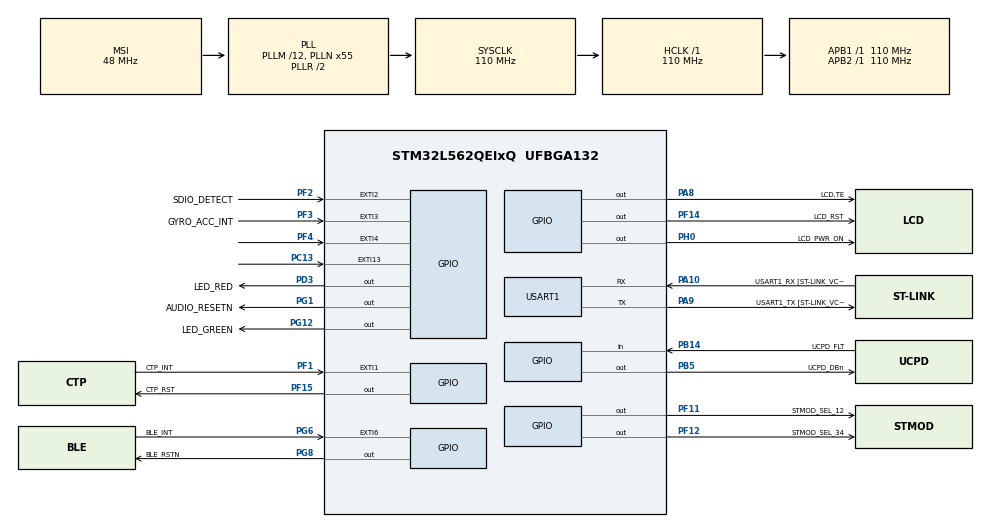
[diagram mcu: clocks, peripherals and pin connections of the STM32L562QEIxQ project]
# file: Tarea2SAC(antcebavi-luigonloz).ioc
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Mcu.Family=STM32L5
Mcu.Name=STM32L562QEIxQ
Mcu.Package=UFBGA132
Mcu.TrustZone=disable
NVIC.EXTI13_IRQn=true\:0\:0\:false\:false\:true\:true\:true\:true
NVIC.EXTI4_IRQn=true\:0\:0\:false\:false\:true\:true\:true\:true
NVIC.PriorityGroup=NVIC_PRIORITYGROUP_3
PA10.GPIO_Label=USART1_RX [ST-LINK_VCP_TX]
PA10.Mode=Asynchronous
PA10.Signal=USART1_RX
PA11.Signal=USB_DM
PA12.Signal=USB_DP
PA13\ (JTMS/SWDIO).Signal=DEBUG_JTMS-SWDIO
PA14\ (JTCK/SWCLK).Signal=DEBUG_JTCK-SWCLK
PA15\ (JTDI).Signal=UCPD1_CC1
PA2.Signal=OCTOSPI1_NCS
PA3.Signal=OCTOSPI1_CLK
PA4.GPIO_Label=VBUS_SENSE
PA4.Signal=ADCx_IN9
PA6.Signal=OCTOSPI1_IO3
PA7.Signal=OCTOSPI1_IO2
PA8.GPIO_Label=LCD.TE
PA8.Signal=GPIO_Output
PA9.GPIO_Label=USART1_TX [ST-LINK_VCP_RX]
PA9.Mode=Asynchronous
PA9.Signal=USART1_TX
PB0.Signal=OCTOSPI1_IO1
PB1.Signal=OCTOSPI1_IO0
PB10.Signal=LPUART1_RX
PB11.Signal=LPUART1_TX
PB12.Signal=S_DATAIN1DFSDM1
PB14.GPIO_Label=UCPD_FLT
PB14.Signal=GPIO_Input
PB15.Signal=UCPD1_CC2
PB2.Signal=OCTOSPI1_DQS
PB3\ (JTDO/TRACESWO).Signal=DEBUG_JTDO-SWO
PB5.GPIO_Label=UCPD_DBn
PB5.Signal=GPIO_Output
PB6.Signal=I2C1_SCL
PB7.Signal=I2C1_SDA
PC0.Signal=OCTOSPI1_IO7
PC1.Signal=OCTOSPI1_IO4
PC10.Signal=SDMMC1_D2
PC11.Signal=SDMMC1_D3
PC12.Signal=SDMMC1_CK
PC13.Signal=GPXTI13
PC14-OSC32_IN\ (PC14).Signal=RCC_OSC32_IN
PC15-OSC32_OUT\ (PC15).Signal=RCC_OSC32_OUT
PC2.Signal=OCTOSPI1_IO5
PC3.Signal=OCTOSPI1_IO6
PC8.Signal=SDMMC1_D0
PC9.Signal=SDMMC1_D1
PD0.Signal=FMC_D2_DA2
PD1.Signal=FMC_D3_DA3
PD10.Signal=FMC_D15_DA15
PD14.Signal=FMC_D0_DA0
PD15.Signal=FMC_D1_DA1
PD2.Signal=SDMMC1_CMD
PD3.GPIO_Label=LED_RED
PD3.Signal=GPIO_Output
PD4.Signal=FMC_NOE
PD5.Signal=FMC_NWE
PD7.Signal=FMC_NE1
PD8.Signal=FMC_D13_DA13
PD9.Signal=FMC_D14_DA14
PE1.GPIO_Label=LCD_BL_PWM
PE1.Signal=S_TIM17_CH1
PE10.Signal=FMC_D7_DA7
PE11.Signal=FMC_D8_DA8
PE12.Signal=FMC_D9_DA9
PE13.Signal=FMC_D10_DA10
PE14.Signal=FMC_D11_DA11
PE15.Signal=FMC_D12_DA12
PE2.Signal=SAI1_MCLK_A
PE3.Signal=SAI1_SD_B
PE4.Signal=SAI1_FS_A
PE5.Signal=SAI1_SCK_A
PE6.Signal=SAI1_SD_A
PE7.Signal=FMC_D4_DA4
PE8.Signal=FMC_D5_DA5
PE9.Signal=FMC_D6_DA6
PF0.Signal=FMC_A0
PF1.GPIO_Label=CTP_INT
PF1.Signal=GPXTI1
PF11.GPIO_Label=STMOD_SEL_12
PF11.Signal=GPIO_Output
PF12.GPIO_Label=STMOD_SEL_34
PF12.Signal=GPIO_Output
PF14.GPIO_Label=LCD_RST
PF14.Signal=GPIO_Output
PF15.GPIO_Label=CTP_RST
PF15.Signal=GPIO_Output
PF2.GPIO_Label=SDIO_DETECT
PF2.Signal=GPXTI2
PF3.GPIO_Label=GYRO_ACC_INT
PF3.Signal=GPXTI3
PF4.Signal=GPXTI4
PG1.GPIO_Label=AUDIO_RESETN
PG1.Signal=GPIO_Output
PG12.GPIO_Label=LED_GREEN
PG12.Signal=GPIO_Output
PG2.Signal=SPI1_SCK
PG3.Signal=SPI1_MISO
PG4.Signal=SPI1_MOSI
PG5.GPIO_Label=BLE_CSN
PG5.Signal=SPI1_NSS
PG6.GPIO_Label=BLE_INT
PG6.Signal=GPXTI6
PG7.Signal=S_CKOUTDFSDM1
PG8.GPIO_Label=BLE_RSTN
PG8.Signal=GPIO_Output
PH0-OSC_IN\ (PH0).GPIO_Label=LCD_PWR_ON
PH0-OSC_IN\ (PH0).Signal=GPIO_Output
ProjectManager.HeapSize=0x200
ProjectManager.StackSize=0x400
ProjectManager.TargetToolchain=STM32CubeIDE
RCC.ADCFreq_Value=96000000
RCC.AHBFreq_Value=110000000
RCC.APB1Freq_Value=110000000
RCC.APB1TimFreq_Value=110000000
RCC.APB2Freq_Value=110000000
RCC.APB2TimFreq_Value=110000000
RCC.CK48CLockSelection=RCC_USBCLKSOURCE_MSI
RCC.CortexFreq_Value=110000000
RCC.HCLKFreq_Value=110000000
RCC.HSE_VALUE=8000000
RCC.HSI48_VALUE=48000000
RCC.HSI_VALUE=16000000
RCC.LSE_VALUE=32768
RCC.MSIClockRange=RCC_MSIRANGE_11
RCC.MSI_VALUE=48000000
RCC.PLLM=12
RCC.PLLN=55
RCC.PLLSAI1M=4
RCC.PLLSAI1N=48
RCC.PLLSAI1P=RCC_PLLP_DIV17
RCC.PLLSAI1Source=RCC_PLLSAI1SOURCE_HSI
RCC.SDMMCClockSelection=RCC_SDIOCLKSOURCE_CLK48
RCC.SYSCLKFreq_VALUE=110000000
RCC.SYSCLKSource=RCC_SYSCLKSOURCE_PLLCLK
RCC.USBFreq_Value=48000000
RCC.VCOOutputFreq_Value=220000000
SH.ADCx_IN9.0=ADC1_IN9
SH.FMC_A0.0=FMC_A0
SH.FMC_D0_DA0.0=FMC_DA0
SH.FMC_D0_DA0.1=FMC_D0
SH.FMC_D10_DA10.0=FMC_DA10
SH.FMC_D10_DA10.1=FMC_D10
SH.FMC_D11_DA11.0=FMC_DA11
SH.FMC_D11_DA11.1=FMC_D11
SH.FMC_D12_DA12.0=FMC_DA12
SH.FMC_D12_DA12.1=FMC_D12
SH.FMC_D13_DA13.0=FMC_DA13
SH.FMC_D13_DA13.1=FMC_D13
SH.FMC_D14_DA14.0=FMC_DA14
SH.FMC_D14_DA14.1=FMC_D14
SH.FMC_D15_DA15.0=FMC_DA15
SH.FMC_D15_DA15.1=FMC_D15
SH.FMC_D1_DA1.0=FMC_DA1
SH.FMC_D1_DA1.1=FMC_D1
SH.FMC_D2_DA2.0=FMC_DA2
SH.FMC_D2_DA2.1=FMC_D2
SH.FMC_D3_DA3.0=FMC_DA3
SH.FMC_D3_DA3.1=FMC_D3
SH.FMC_D4_DA4.0=FMC_DA4
SH.FMC_D4_DA4.1=FMC_D4
SH.FMC_D5_DA5.0=FMC_DA5
SH.FMC_D5_DA5.1=FMC_D5
SH.FMC_D6_DA6.0=FMC_DA6
SH.FMC_D6_DA6.1=FMC_D6
SH.FMC_D7_DA7.0=FMC_DA7
SH.FMC_D7_DA7.1=FMC_D7
SH.FMC_D8_DA8.0=FMC_DA8
SH.FMC_D8_DA8.1=FMC_D8
SH.FMC_D9_DA9.0=FMC_DA9
SH.FMC_D9_DA9.1=FMC_D9
SH.FMC_NOE.0=FMC_NOE
SH.FMC_NWE.0=FMC_NWE
SH.S_CKOUTDFSDM1.0=DFSDM1_CKOUT
SH.S_DATAIN1DFSDM1.0=DFSDM1_DATIN1
SH.S_TIM17_CH1.0=TIM17_CH1
USART1.VirtualMode-Asynchronous=VM_ASYNC
VP_ICACHE_VS_ICACHE.Mode=DirectMappedCache
board=STM32L562E-DK

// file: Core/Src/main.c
/* USER CODE BEGIN Header */
/**
 ******************************************************************************
 * @file           : main.c
 * @brief          : Main program body
 ******************************************************************************
 * @attention
 *
 * Copyright (c) 2024 STMicroelectronics.
 * All rights reserved.
 *
 * This software is licensed under terms that can be found in the LICENSE file
 * in the root directory of this software component.
 * If no LICENSE file comes with this software, it is provided AS-IS.
 *
 ******************************************************************************
 */
/* USER CODE END Header */
#include "main.h"

/* USER CODE BEGIN Includes */
#include "stdio.h"
/* USER CODE END Includes */

UART_HandleTypeDef huart1;

void SystemClock_Config(void);
static void MX_GPIO_Init(void);
static void MX_ICACHE_Init(void);
static void MX_USART1_UART_Init(void);

/* USER CODE BEGIN 0 */
int __io_putchar(int ch) {
	HAL_UART_Transmit(&huart1, (uint8_t*) &ch, 1, 100);
	return ch;
}
uint16_t stateB1 = 0; //Registra si cambia el estado del boton 1
uint16_t stateB2 = 0; //Registra si cambia el estado del boton 2
uint16_t statesLeds = 0; //Variable global para controlar los estados de la maquina

/* USER CODE END 0 */

int main(void)
{

  /* MCU Configuration--------------------------------------------------------*/

  /* Reset of all peripherals, Initializes the Flash interface and the Systick. */
  HAL_Init();

  /* Configure the system clock */
  SystemClock_Config();

  /* Initialize all configured peripherals */
  MX_GPIO_Init();
  MX_ICACHE_Init();
  MX_USART1_UART_Init();
  /* USER CODE BEGIN 2 */
	HAL_UART_Transmit(&huart1, (uint8_t*) "Prueba", 6, 100);
  /* USER CODE END 2 */

  /* Infinite loop */
	while (1) {

    /* USER CODE BEGIN 3 */
		switch (statesLeds) {
		case 0: //Definimos la salida de los dos outputs en S0
			printf("Se encuentra en el: S0\n\r");
			HAL_GPIO_WritePin(GPIOG, GPIO_PIN_12, RESET); // LED1 = 0
			HAL_Delay(100);
			HAL_GPIO_WritePin(GPIOD, GPIO_PIN_3, SET); // LED2 = 1
			break;
		case 1: //Definimos la salida de los dos outputs en S1
			printf("Se encuentra en el: S1\n\r");
			HAL_GPIO_WritePin(GPIOG, GPIO_PIN_12, SET);     // LED1 = 1
			HAL_Delay(100);
			HAL_GPIO_WritePin(GPIOD, GPIO_PIN_3, RESET); // LED2 = 0
			break;
		case 2: //Definimos la salida de los dos outputs en S2
			printf("Se encuentra en el: S2 \n\r");
			HAL_GPIO_WritePin(GPIOG, GPIO_PIN_12, SET);      // LED1 = 1
			HAL_Delay(100);
			HAL_GPIO_WritePin(GPIOD, GPIO_PIN_3, SET);  // LED2 = 1
			break;
		case 3: //Definimos la salida de los dos outputs en S3
			printf("Se encuentra en el: S3 \n\r");
			HAL_GPIO_WritePin(GPIOG, GPIO_PIN_12, RESET); // LED1 = 0
			HAL_Delay(100);
			HAL_GPIO_WritePin(GPIOD, GPIO_PIN_3, RESET); // LED2 = 0
			break;
		}

//printf("Prueba printf\n");
//HAL_Delay(1000);
	}
  /* USER CODE END 3 */
}

void SystemClock_Config(void)
{
  RCC_OscInitTypeDef RCC_OscInitStruct = {0};
  RCC_ClkInitTypeDef RCC_ClkInitStruct = {0};

  /** Configure the main internal regulator output voltage
  */
  if (HAL_PWREx_ControlVoltageScaling(PWR_REGULATOR_VOLTAGE_SCALE0) != HAL_OK)
  {
    Error_Handler();
  }

  /** Initializes the RCC Oscillators according to the specified parameters
  * in the RCC_OscInitTypeDef structure.
  */
  RCC_OscInitStruct.OscillatorType = RCC_OSCILLATORTYPE_MSI;
  RCC_OscInitStruct.MSIState = RCC_MSI_ON;
  RCC_OscInitStruct.MSICalibrationValue = RCC_MSICALIBRATION_DEFAULT;
  RCC_OscInitStruct.MSIClockRange = RCC_MSIRANGE_11;
  RCC_OscInitStruct.PLL.PLLState = RCC_PLL_ON;
  RCC_OscInitStruct.PLL.PLLSource = RCC_PLLSOURCE_MSI;
  RCC_OscInitStruct.PLL.PLLM = 12;
  RCC_OscInitStruct.PLL.PLLN = 55;
  RCC_OscInitStruct.PLL.PLLP = RCC_PLLP_DIV7;
  RCC_OscInitStruct.PLL.PLLQ = RCC_PLLQ_DIV2;
  RCC_OscInitStruct.PLL.PLLR = RCC_PLLR_DIV2;
  if (HAL_RCC_OscConfig(&RCC_OscInitStruct) != HAL_OK)
  {
    Error_Handler();
  }

  /** Initializes the CPU, AHB and APB buses clocks
  */
  RCC_ClkInitStruct.ClockType = RCC_CLOCKTYPE_HCLK|RCC_CLOCKTYPE_SYSCLK
                              |RCC_CLOCKTYPE_PCLK1|RCC_CLOCKTYPE_PCLK2;
  RCC_ClkInitStruct.SYSCLKSource = RCC_SYSCLKSOURCE_PLLCLK;
  RCC_ClkInitStruct.AHBCLKDivider = RCC_SYSCLK_DIV1;
  RCC_ClkInitStruct.APB1CLKDivider = RCC_HCLK_DIV1;
  RCC_ClkInitStruct.APB2CLKDivider = RCC_HCLK_DIV1;

  if (HAL_RCC_ClockConfig(&RCC_ClkInitStruct, FLASH_LATENCY_5) != HAL_OK)
  {
    Error_Handler();
  }
}

static void MX_ICACHE_Init(void)
{

  /** Enable instruction cache in 1-way (direct mapped cache)
  */
  if (HAL_ICACHE_ConfigAssociativityMode(ICACHE_1WAY) != HAL_OK)
  {
    Error_Handler();
  }
  if (HAL_ICACHE_Enable() != HAL_OK)
  {
    Error_Handler();
  }

}

static void MX_USART1_UART_Init(void)
{

  huart1.Instance = USART1;
  huart1.Init.BaudRate = 115200;
  huart1.Init.WordLength = UART_WORDLENGTH_8B;
  huart1.Init.StopBits = UART_STOPBITS_1;
  huart1.Init.Parity = UART_PARITY_NONE;
  huart1.Init.Mode = UART_MODE_TX_RX;
  huart1.Init.HwFlowCtl = UART_HWCONTROL_NONE;
  huart1.Init.OverSampling = UART_OVERSAMPLING_16;
  huart1.Init.OneBitSampling = UART_ONE_BIT_SAMPLE_DISABLE;
  huart1.Init.ClockPrescaler = UART_PRESCALER_DIV1;
  huart1.AdvancedInit.AdvFeatureInit = UART_ADVFEATURE_NO_INIT;
  if (HAL_UART_Init(&huart1) != HAL_OK)
  {
    Error_Handler();
  }
  if (HAL_UARTEx_SetTxFifoThreshold(&huart1, UART_TXFIFO_THRESHOLD_1_8) != HAL_OK)
  {
    Error_Handler();
  }
  if (HAL_UARTEx_SetRxFifoThreshold(&huart1, UART_RXFIFO_THRESHOLD_1_8) != HAL_OK)
  {
    Error_Handler();
  }
  if (HAL_UARTEx_DisableFifoMode(&huart1) != HAL_OK)
  {
    Error_Handler();
  }

}

static void MX_GPIO_Init(void)
{
  GPIO_InitTypeDef GPIO_InitStruct = {0};

  /* GPIO Ports Clock Enable */
  __HAL_RCC_GPIOE_CLK_ENABLE();
  __HAL_RCC_GPIOB_CLK_ENABLE();
  __HAL_RCC_GPIOG_CLK_ENABLE();
  HAL_PWREx_EnableVddIO2();
  __HAL_RCC_GPIOD_CLK_ENABLE();
  __HAL_RCC_GPIOC_CLK_ENABLE();
  __HAL_RCC_GPIOA_CLK_ENABLE();
  __HAL_RCC_GPIOF_CLK_ENABLE();
  __HAL_RCC_GPIOH_CLK_ENABLE();

  /*Configure GPIO pin Output Level */
  HAL_GPIO_WritePin(GPIOG, LED_GREEN_Pin|BLE_RSTN_Pin|AUDIO_RESETN_Pin, GPIO_PIN_RESET);

  /*Configure GPIO pin Output Level */
  HAL_GPIO_WritePin(LED_RED_GPIO_Port, LED_RED_Pin, GPIO_PIN_RESET);

  /*Configure GPIO pin Output Level */
  HAL_GPIO_WritePin(UCPD_DBn_GPIO_Port, UCPD_DBn_Pin, GPIO_PIN_RESET);

  /*Configure GPIO pin Output Level */
  HAL_GPIO_WritePin(LCD_TE_GPIO_Port, LCD_TE_Pin, GPIO_PIN_RESET);

  /*Configure GPIO pin Output Level */
  HAL_GPIO_WritePin(LCD_PWR_ON_GPIO_Port, LCD_PWR_ON_Pin, GPIO_PIN_RESET);

  /*Configure GPIO pin Output Level */
  HAL_GPIO_WritePin(GPIOF, LCD_RST_Pin|STMOD_SEL_12_Pin|STMOD_SEL_34_Pin|CTP_RST_Pin, GPIO_PIN_RESET);

  /*Configure GPIO pins : PE5 PE3 PE4 PE2
                           PE6 */
  GPIO_InitStruct.Pin = GPIO_PIN_5|GPIO_PIN_3|GPIO_PIN_4|GPIO_PIN_2
                          |GPIO_PIN_6;
  GPIO_InitStruct.Mode = GPIO_MODE_AF_PP;
  GPIO_InitStruct.Pull = GPIO_NOPULL;
  GPIO_InitStruct.Speed = GPIO_SPEED_FREQ_LOW;
  GPIO_InitStruct.Alternate = GPIO_AF13_SAI1;
  HAL_GPIO_Init(GPIOE, &GPIO_InitStruct);

  /*Configure GPIO pin : LCD_BL_PWM_Pin */
  GPIO_InitStruct.Pin = LCD_BL_PWM_Pin;
  GPIO_InitStruct.Mode = GPIO_MODE_AF_PP;
  GPIO_InitStruct.Pull = GPIO_NOPULL;
  GPIO_InitStruct.Speed = GPIO_SPEED_FREQ_LOW;
  GPIO_InitStruct.Alternate = GPIO_AF14_TIM17;
  HAL_GPIO_Init(LCD_BL_PWM_GPIO_Port, &GPIO_InitStruct);

  /*Configure GPIO pins : PB6 PB7 */
  GPIO_InitStruct.Pin = GPIO_PIN_6|GPIO_PIN_7;
  GPIO_InitStruct.Mode = GPIO_MODE_AF_OD;
  GPIO_InitStruct.Pull = GPIO_NOPULL;
  GPIO_InitStruct.Speed = GPIO_SPEED_FREQ_LOW;
  GPIO_InitStruct.Alternate = GPIO_AF4_I2C1;
  HAL_GPIO_Init(GPIOB, &GPIO_InitStruct);

  /*Configure GPIO pins : LED_GREEN_Pin BLE_RSTN_Pin AUDIO_RESETN_Pin */
  GPIO_InitStruct.Pin = LED_GREEN_Pin|BLE_RSTN_Pin|AUDIO_RESETN_Pin;
  GPIO_InitStruct.Mode = GPIO_MODE_OUTPUT_PP;
  GPIO_InitStruct.Pull = GPIO_NOPULL;
  GPIO_InitStruct.Speed = GPIO_SPEED_FREQ_LOW;
  HAL_GPIO_Init(GPIOG, &GPIO_InitStruct);

  /*Configure GPIO pins : PD5 PD4 PD1 PD0
                           PD7 PD14 PD15 PD9
                           PD8 PD10 */
  GPIO_InitStruct.Pin = GPIO_PIN_5|GPIO_PIN_4|GPIO_PIN_1|GPIO_PIN_0
                          |GPIO_PIN_7|GPIO_PIN_14|GPIO_PIN_15|GPIO_PIN_9
                          |GPIO_PIN_8|GPIO_PIN_10;
  GPIO_InitStruct.Mode = GPIO_MODE_AF_PP;
  GPIO_InitStruct.Pull = GPIO_NOPULL;
  GPIO_InitStruct.Speed = GPIO_SPEED_FREQ_VERY_HIGH;
  GPIO_InitStruct.Alternate = GPIO_AF12_FMC;
  HAL_GPIO_Init(GPIOD, &GPIO_InitStruct);

  /*Configure GPIO pin : PD2 */
  GPIO_InitStruct.Pin = GPIO_PIN_2;
  GPIO_InitStruct.Mode = GPIO_MODE_AF_PP;
  GPIO_InitStruct.Pull = GPIO_NOPULL;
  GPIO_InitStruct.Speed = GPIO_SPEED_FREQ_VERY_HIGH;
  GPIO_InitStruct.Alternate = GPIO_AF12_SDMMC1;
  HAL_GPIO_Init(GPIOD, &GPIO_InitStruct);

  /*Configure GPIO pins : PC11 PC12 PC10 PC9
                           PC8 */
  GPIO_InitStruct.Pin = GPIO_PIN_11|GPIO_PIN_12|GPIO_PIN_10|GPIO_PIN_9
                          |GPIO_PIN_8;
  GPIO_InitStruct.Mode = GPIO_MODE_AF_PP;
  GPIO_InitStruct.Pull = GPIO_NOPULL;
  GPIO_InitStruct.Speed = GPIO_SPEED_FREQ_VERY_HIGH;
  GPIO_InitStruct.Alternate = GPIO_AF12_SDMMC1;
  HAL_GPIO_Init(GPIOC, &GPIO_InitStruct);

  /*Configure GPIO pins : PA15 VBUS_SENSE_Pin */
  GPIO_InitStruct.Pin = GPIO_PIN_15|VBUS_SENSE_Pin;
  GPIO_InitStruct.Mode = GPIO_MODE_ANALOG;
  GPIO_InitStruct.Pull = GPIO_NOPULL;
  HAL_GPIO_Init(GPIOA, &GPIO_InitStruct);

  /*Configure GPIO pins : PA12 PA11 */
  GPIO_InitStruct.Pin = GPIO_PIN_12|GPIO_PIN_11;
  GPIO_InitStruct.Mode = GPIO_MODE_AF_PP;
  GPIO_InitStruct.Pull = GPIO_NOPULL;
  GPIO_InitStruct.Speed = GPIO_SPEED_FREQ_LOW;
  GPIO_InitStruct.Alternate = GPIO_AF10_USB;
  HAL_GPIO_Init(GPIOA, &GPIO_InitStruct);

  /*Configure GPIO pin : PC13 */
  GPIO_InitStruct.Pin = GPIO_PIN_13;
  GPIO_InitStruct.Mode = GPIO_MODE_IT_RISING;
  GPIO_InitStruct.Pull = GPIO_NOPULL;
  HAL_GPIO_Init(GPIOC, &GPIO_InitStruct);

  /*Configure GPIO pin : LED_RED_Pin */
  GPIO_InitStruct.Pin = LED_RED_Pin;
  GPIO_InitStruct.Mode = GPIO_MODE_OUTPUT_PP;
  GPIO_InitStruct.Pull = GPIO_NOPULL;
  GPIO_InitStruct.Speed = GPIO_SPEED_FREQ_LOW;
  HAL_GPIO_Init(LED_RED_GPIO_Port, &GPIO_InitStruct);

  /*Configure GPIO pin : PF0 */
  GPIO_InitStruct.Pin = GPIO_PIN_0;
  GPIO_InitStruct.Mode = GPIO_MODE_AF_PP;
  GPIO_InitStruct.Pull = GPIO_NOPULL;
  GPIO_InitStruct.Speed = GPIO_SPEED_FREQ_VERY_HIGH;
  GPIO_InitStruct.Alternate = GPIO_AF12_FMC;
  HAL_GPIO_Init(GPIOF, &GPIO_InitStruct);

  /*Configure GPIO pins : GYRO_ACC_INT_Pin SDIO_DETECT_Pin CTP_INT_Pin PF4 */
  GPIO_InitStruct.Pin = GYRO_ACC_INT_Pin|SDIO_DETECT_Pin|CTP_INT_Pin|GPIO_PIN_4;
  GPIO_InitStruct.Mode = GPIO_MODE_IT_RISING;
  GPIO_InitStruct.Pull = GPIO_NOPULL;
  HAL_GPIO_Init(GPIOF, &GPIO_InitStruct);

  /*Configure GPIO pin : UCPD_DBn_Pin */
  GPIO_InitStruct.Pin = UCPD_DBn_Pin;
  GPIO_InitStruct.Mode = GPIO_MODE_OUTPUT_PP;
  GPIO_InitStruct.Pull = GPIO_NOPULL;
  GPIO_InitStruct.Speed = GPIO_SPEED_FREQ_LOW;
  HAL_GPIO_Init(UCPD_DBn_GPIO_Port, &GPIO_InitStruct);

  /*Configure GPIO pin : LCD_TE_Pin */
  GPIO_InitStruct.Pin = LCD_TE_Pin;
  GPIO_InitStruct.Mode = GPIO_MODE_OUTPUT_PP;
  GPIO_InitStruct.Pull = GPIO_NOPULL;
  GPIO_InitStruct.Speed = GPIO_SPEED_FREQ_LOW;
  HAL_GPIO_Init(LCD_TE_GPIO_Port, &GPIO_InitStruct);

  /*Configure GPIO pin : LCD_PWR_ON_Pin */
  GPIO_InitStruct.Pin = LCD_PWR_ON_Pin;
  GPIO_InitStruct.Mode = GPIO_MODE_OUTPUT_PP;
  GPIO_InitStruct.Pull = GPIO_NOPULL;
  GPIO_InitStruct.Speed = GPIO_SPEED_FREQ_LOW;
  HAL_GPIO_Init(LCD_PWR_ON_GPIO_Port, &GPIO_InitStruct);

  /*Configure GPIO pins : PC2 PC3 PC1 */
  GPIO_InitStruct.Pin = GPIO_PIN_2|GPIO_PIN_3|GPIO_PIN_1;
  GPIO_InitStruct.Mode = GPIO_MODE_AF_PP;
  GPIO_InitStruct.Pull = GPIO_NOPULL;
  GPIO_InitStruct.Speed = GPIO_SPEED_FREQ_VERY_HIGH;
  GPIO_InitStruct.Alternate = GPIO_AF10_OCTOSPI1;
  HAL_GPIO_Init(GPIOC, &GPIO_InitStruct);

  /*Configure GPIO pin : BLE_INT_Pin */
  GPIO_InitStruct.Pin = BLE_INT_Pin;
  GPIO_InitStruct.Mode = GPIO_MODE_IT_RISING;
  GPIO_InitStruct.Pull = GPIO_NOPULL;
  HAL_GPIO_Init(BLE_INT_GPIO_Port, &GPIO_InitStruct);

  /*Configure GPIO pin : PG7 */
  GPIO_InitStruct.Pin = GPIO_PIN_7;
  GPIO_InitStruct.Mode = GPIO_MODE_AF_PP;
  GPIO_InitStruct.Pull = GPIO_NOPULL;
  GPIO_InitStruct.Speed = GPIO_SPEED_FREQ_LOW;
  GPIO_InitStruct.Alternate = GPIO_AF6_DFSDM1;
  HAL_GPIO_Init(GPIOG, &GPIO_InitStruct);

  /*Configure GPIO pins : PG4 PG2 PG3 BLE_CSN_Pin */
  GPIO_InitStruct.Pin = GPIO_PIN_4|GPIO_PIN_2|GPIO_PIN_3|BLE_CSN_Pin;
  GPIO_InitStruct.Mode = GPIO_MODE_AF_PP;
  GPIO_InitStruct.Pull = GPIO_NOPULL;
  GPIO_InitStruct.Speed = GPIO_SPEED_FREQ_LOW;
  GPIO_InitStruct.Alternate = GPIO_AF5_SPI1;
  HAL_GPIO_Init(GPIOG, &GPIO_InitStruct);

  /*Configure GPIO pin : PC0 */
  GPIO_InitStruct.Pin = GPIO_PIN_0;
  GPIO_InitStruct.Mode = GPIO_MODE_AF_PP;
  GPIO_InitStruct.Pull = GPIO_NOPULL;
  GPIO_InitStruct.Speed = GPIO_SPEED_FREQ_VERY_HIGH;
  GPIO_InitStruct.Alternate = GPIO_AF3_OCTOSPI1;
  HAL_GPIO_Init(GPIOC, &GPIO_InitStruct);

  /*Configure GPIO pins : LCD_RST_Pin STMOD_SEL_12_Pin STMOD_SEL_34_Pin CTP_RST_Pin */
  GPIO_InitStruct.Pin = LCD_RST_Pin|STMOD_SEL_12_Pin|STMOD_SEL_34_Pin|CTP_RST_Pin;
  GPIO_InitStruct.Mode = GPIO_MODE_OUTPUT_PP;
  GPIO_InitStruct.Pull = GPIO_NOPULL;
  GPIO_InitStruct.Speed = GPIO_SPEED_FREQ_LOW;
  HAL_GPIO_Init(GPIOF, &GPIO_InitStruct);

  /*Configure GPIO pins : PE8 PE10 PE12 PE7
                           PE14 PE11 PE15 PE9
                           PE13 */
  GPIO_InitStruct.Pin = GPIO_PIN_8|GPIO_PIN_10|GPIO_PIN_12|GPIO_PIN_7
                          |GPIO_PIN_14|GPIO_PIN_11|GPIO_PIN_15|GPIO_PIN_9
                          |GPIO_PIN_13;
  GPIO_InitStruct.Mode = GPIO_MODE_AF_PP;
  GPIO_InitStruct.Pull = GPIO_NOPULL;
  GPIO_InitStruct.Speed = GPIO_SPEED_FREQ_VERY_HIGH;
  GPIO_InitStruct.Alternate = GPIO_AF12_FMC;
  HAL_GPIO_Init(GPIOE, &GPIO_InitStruct);

  /*Configure GPIO pins : PA2 PA7 PA3 PA6 */
  GPIO_InitStruct.Pin = GPIO_PIN_2|GPIO_PIN_7|GPIO_PIN_3|GPIO_PIN_6;
  GPIO_InitStruct.Mode = GPIO_MODE_AF_PP;
  GPIO_InitStruct.Pull = GPIO_NOPULL;
  GPIO_InitStruct.Speed = GPIO_SPEED_FREQ_VERY_HIGH;
  GPIO_InitStruct.Alternate = GPIO_AF10_OCTOSPI1;
  HAL_GPIO_Init(GPIOA, &GPIO_InitStruct);

  /*Configure GPIO pins : PB2 PB1 PB0 */
  GPIO_InitStruct.Pin = GPIO_PIN_2|GPIO_PIN_1|GPIO_PIN_0;
  GPIO_InitStruct.Mode = GPIO_MODE_AF_PP;
  GPIO_InitStruct.Pull = GPIO_NOPULL;
  GPIO_InitStruct.Speed = GPIO_SPEED_FREQ_VERY_HIGH;
  GPIO_InitStruct.Alternate = GPIO_AF10_OCTOSPI1;
  HAL_GPIO_Init(GPIOB, &GPIO_InitStruct);

  /*Configure GPIO pins : PB10 PB11 */
  GPIO_InitStruct.Pin = GPIO_PIN_10|GPIO_PIN_11;
  GPIO_InitStruct.Mode = GPIO_MODE_AF_PP;
  GPIO_InitStruct.Pull = GPIO_NOPULL;
  GPIO_InitStruct.Speed = GPIO_SPEED_FREQ_LOW;
  GPIO_InitStruct.Alternate = GPIO_AF8_LPUART1;
  HAL_GPIO_Init(GPIOB, &GPIO_InitStruct);

  /*Configure GPIO pin : UCPD_FLT_Pin */
  GPIO_InitStruct.Pin = UCPD_FLT_Pin;
  GPIO_InitStruct.Mode = GPIO_MODE_INPUT;
  GPIO_InitStruct.Pull = GPIO_NOPULL;
  HAL_GPIO_Init(UCPD_FLT_GPIO_Port, &GPIO_InitStruct);

  /*Configure GPIO pin : PB15 */
  GPIO_InitStruct.Pin = GPIO_PIN_15;
  GPIO_InitStruct.Mode = GPIO_MODE_ANALOG;
  GPIO_InitStruct.Pull = GPIO_NOPULL;
  HAL_GPIO_Init(GPIOB, &GPIO_InitStruct);

  /*Configure GPIO pin : PB12 */
  GPIO_InitStruct.Pin = GPIO_PIN_12;
  GPIO_InitStruct.Mode = GPIO_MODE_AF_PP;
  GPIO_InitStruct.Pull = GPIO_NOPULL;
  GPIO_InitStruct.Speed = GPIO_SPEED_FREQ_LOW;
  GPIO_InitStruct.Alternate = GPIO_AF6_DFSDM1;
  HAL_GPIO_Init(GPIOB, &GPIO_InitStruct);

  /* EXTI interrupt init*/
  HAL_NVIC_SetPriority(EXTI4_IRQn, 0, 0);
  HAL_NVIC_EnableIRQ(EXTI4_IRQn);

  HAL_NVIC_SetPriority(EXTI13_IRQn, 0, 0);
  HAL_NVIC_EnableIRQ(EXTI13_IRQn);

}

/* USER CODE BEGIN 4 */
void HAL_GPIO_EXTI_Rising_Callback(uint16_t GPIO_Pin) {
	/*

	 La máquina de estados funciona de la siguiente forma:
	 Siempre que se puse el botón 1 nos "movemos" a la dcha en la máquina de estados (avanzamos al siguiente estado)
	 Cuando se puse el botón 2 nos "moveremos a la izqda en la máquina (vamos al estado anterior del actual)
	 */
	if (GPIO_Pin == GPIO_PIN_13) // Condición: El botón 1 es pulsado
	{
		if (statesLeds == 3) // Si estamos en el S3, pasamos al S0
				{
			statesLeds = 0;
		} else {
			statesLeds++; // Avanzamos al sig estado
		}

	} else if (GPIO_Pin == GPIO_PIN_4) // // Condición: El botón 1 es pulsado
	{
		if (statesLeds == 0) // Si estamos en el S0, pasamos al S3
				{
			statesLeds = 3;
		} else {
			statesLeds--; // Retrocedemos al estado ant.
		}
	}
}
/* USER CODE END 4 */

void Error_Handler(void)
{
	__disable_irq();
	while (1) {
	}
}
